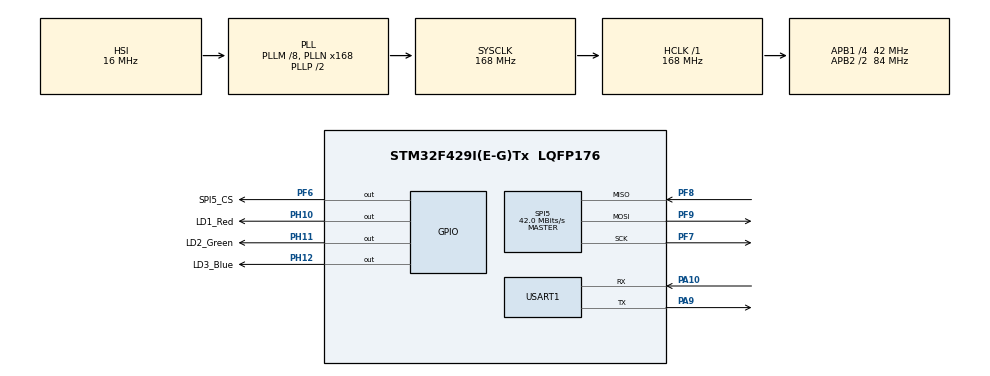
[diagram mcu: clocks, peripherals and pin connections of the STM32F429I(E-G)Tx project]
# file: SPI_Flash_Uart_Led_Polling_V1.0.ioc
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FATFS._MAX_SS=4096
Mcu.Family=STM32F4
Mcu.Name=STM32F429I(E-G)Tx
Mcu.Package=LQFP176
NVIC.PriorityGroup=NVIC_PRIORITYGROUP_4
PA10.Mode=Asynchronous
PA10.Signal=USART1_RX
PA13.Mode=Serial_Wire
PA13.Signal=SYS_JTMS-SWDIO
PA14.Mode=Serial_Wire
PA14.Signal=SYS_JTCK-SWCLK
PA9.Mode=Asynchronous
PA9.Signal=USART1_TX
PF6.GPIO_Label=SPI5_CS
PF6.PinState=GPIO_PIN_SET
PF6.Signal=GPIO_Output
PF7.Mode=Full_Duplex_Master
PF7.Signal=SPI5_SCK
PF8.Mode=Full_Duplex_Master
PF8.Signal=SPI5_MISO
PF9.Mode=Full_Duplex_Master
PF9.Signal=SPI5_MOSI
PH0/OSC_IN.Mode=HSE-External-Oscillator
PH0/OSC_IN.Signal=RCC_OSC_IN
PH1/OSC_OUT.Mode=HSE-External-Oscillator
PH1/OSC_OUT.Signal=RCC_OSC_OUT
PH10.GPIO_Label=LD1_Red
PH10.PinState=GPIO_PIN_SET
PH10.Signal=GPIO_Output
PH11.GPIO_Label=LD2_Green
PH11.PinState=GPIO_PIN_SET
PH11.Signal=GPIO_Output
PH12.GPIO_Label=LD3_Blue
PH12.PinState=GPIO_PIN_SET
PH12.Signal=GPIO_Output
ProjectManager.HeapSize=0x200
ProjectManager.StackSize=0x400
ProjectManager.TargetToolchain=STM32CubeIDE
RCC.48MHZClocksFreq_Value=84000000
RCC.AHBFreq_Value=168000000
RCC.APB1CLKDivider=RCC_HCLK_DIV4
RCC.APB1Freq_Value=42000000
RCC.APB1TimFreq_Value=84000000
RCC.APB2CLKDivider=RCC_HCLK_DIV2
RCC.APB2Freq_Value=84000000
RCC.APB2TimFreq_Value=168000000
RCC.CortexFreq_Value=168000000
RCC.HCLKFreq_Value=168000000
RCC.HSE_VALUE=25000000
RCC.HSI_VALUE=16000000
RCC.LSE_VALUE=32768
RCC.PLLM=8
RCC.PLLN=168
RCC.SYSCLKFreq_VALUE=168000000
RCC.SYSCLKSource=RCC_SYSCLKSOURCE_PLLCLK
RCC.VCOOutputFreq_Value=336000000
SPI5.CalculateBaudRate=42.0 MBits/s
SPI5.Direction=SPI_DIRECTION_2LINES
SPI5.Mode=SPI_MODE_MASTER
SPI5.VirtualType=VM_MASTER
USART1.VirtualMode=VM_ASYNC
VP_FATFS_VS_Generic.Mode=User_defined
board=custom

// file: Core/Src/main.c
/* USER CODE BEGIN Header */
/**
  ******************************************************************************
  * @file           : main.c
  * @brief          : Main program body
  ******************************************************************************
  * @attention
  *
  * Copyright (c) 2022 STMicroelectronics.
  * All rights reserved.
  *
  * This software is licensed under terms that can be found in the LICENSE file
  * in the root directory of this software component.
  * If no LICENSE file comes with this software, it is provided AS-IS.
  *
  ******************************************************************************
  */
/* USER CODE END Header */
#include "main.h"
#include "fatfs.h"

/* USER CODE BEGIN Includes */
#include "file_handling.h"
#include "stdio.h"
/* USER CODE END Includes */

SPI_HandleTypeDef hspi5;

UART_HandleTypeDef huart1;

void SystemClock_Config(void);
static void MX_GPIO_Init(void);
static void MX_SPI5_Init(void);
static void MX_USART1_UART_Init(void);

/* USER CODE BEGIN 0 */
FRESULT fres;
FATFS fs;
FIL   fp;
DIR   dp;

int _write(int file, char *ptr, int len)
{
	HAL_UART_Transmit(&huart1, (uint8_t *)ptr, len, 100);
	return len;
}
/* USER CODE END 0 */

int main(void)
{

  /* MCU Configuration--------------------------------------------------------*/

  /* Reset of all peripherals, Initializes the Flash interface and the Systick. */
  HAL_Init();

  /* Configure the system clock */
  SystemClock_Config();

  /* Initialize all configured peripherals */
  MX_GPIO_Init();
  MX_SPI5_Init();
  MX_USART1_UART_Init();
  MX_FATFS_Init();
  /* USER CODE BEGIN 2 */

  HAL_Delay(2000);

  fres = f_mount(&fs, "0:", 1);
  if (fres == FR_OK)
  {
	  printf("mount w25qxxx flash passed...\r\n");

	  //fres = f_opendir(&dp, "0:/dataInfo");

	  fres = f_open(&fp, "0:/dataInfo/info.txt", FA_OPEN_ALWAYS|FA_WRITE);
	  if (fres == FR_OK)
	  {
		  printf("open file ok...\r\n");
		  static uint8_t buff[] = "1234567890\r\nabcdefghijklmnopqrstuvwxyz\r\n!@#$%^&*()...";
		  UINT bw[1];
		  fres = f_write(&fp, buff, sizeof(buff), bw);
		  if (fres == FR_OK)
		  {
			  printf("write file passed...\r\n");

			  fres = f_close(&fp);
			  if (fres == FR_OK)
				  printf("close file passed...\r\n");
			  else
				  printf("close file failed...\r\n");

//			  f_closedir(&dp);
		  }
		  else
			  printf("write file failed...\r\n");
	  }
	  else
		  printf("open file failed...\r\n");

	  DWORD free_byte[1], total_byte[1];
	  fres = ff_getCapacity("0:", free_byte, total_byte);
	  if (fres == FR_OK)
	  {
		  printf("##################################\r\n");
		  printf(" total capacity : %ld KiByte\r\n", total_byte[0]);
		  printf(" free  capacity : %ld KiByte\r\n",  free_byte[0]);
		  printf("##################################\r\n");

		  TCHAR path[50] = "0:";
		  fres = ff_scanDisk(path);
		  if (fres == FR_OK)
			  printf("scan flash disk end...\r\n");

	  }

	  fres = f_open(&fp, "0:/dataInfo/info.txt", FA_OPEN_ALWAYS|FA_READ|FA_WRITE);
	  fres = f_lseek(&fp, 0);
	  uint8_t buffer[200];
	  UINT bw[1];
	  fres = f_read(&fp, buffer, f_size(&fp), bw);
	  fres = f_close(&fp);

	  fres = f_mount(NULL, "0:", 1);
	  if (fres == FR_OK)
	  {
		  printf("unmount passed...\r\n");
	  }
	  else {
		printf("unmount failed...\r\n");
	}
  }
  else
	  printf("mount w25qxxx flash failed...\r\n");

  /* USER CODE END 2 */

  /* Infinite loop */
  /* USER CODE BEGIN WHILE */
  while (1)
  {
	  HAL_GPIO_TogglePin(LD3_Blue_GPIO_Port, LD3_Blue_Pin);
	  HAL_Delay(500);
    /* USER CODE END WHILE */

  }
}

void SystemClock_Config(void)
{
  RCC_OscInitTypeDef RCC_OscInitStruct = {0};
  RCC_ClkInitTypeDef RCC_ClkInitStruct = {0};

  /** Configure the main internal regulator output voltage
  */
  __HAL_RCC_PWR_CLK_ENABLE();
  __HAL_PWR_VOLTAGESCALING_CONFIG(PWR_REGULATOR_VOLTAGE_SCALE1);
  /** Initializes the RCC Oscillators according to the specified parameters
  * in the RCC_OscInitTypeDef structure.
  */
  RCC_OscInitStruct.OscillatorType = RCC_OSCILLATORTYPE_HSI;
  RCC_OscInitStruct.HSIState = RCC_HSI_ON;
  RCC_OscInitStruct.HSICalibrationValue = RCC_HSICALIBRATION_DEFAULT;
  RCC_OscInitStruct.PLL.PLLState = RCC_PLL_ON;
  RCC_OscInitStruct.PLL.PLLSource = RCC_PLLSOURCE_HSI;
  RCC_OscInitStruct.PLL.PLLM = 8;
  RCC_OscInitStruct.PLL.PLLN = 168;
  RCC_OscInitStruct.PLL.PLLP = RCC_PLLP_DIV2;
  RCC_OscInitStruct.PLL.PLLQ = 4;
  if (HAL_RCC_OscConfig(&RCC_OscInitStruct) != HAL_OK)
  {
    Error_Handler();
  }
  /** Initializes the CPU, AHB and APB buses clocks
  */
  RCC_ClkInitStruct.ClockType = RCC_CLOCKTYPE_HCLK|RCC_CLOCKTYPE_SYSCLK
                              |RCC_CLOCKTYPE_PCLK1|RCC_CLOCKTYPE_PCLK2;
  RCC_ClkInitStruct.SYSCLKSource = RCC_SYSCLKSOURCE_PLLCLK;
  RCC_ClkInitStruct.AHBCLKDivider = RCC_SYSCLK_DIV1;
  RCC_ClkInitStruct.APB1CLKDivider = RCC_HCLK_DIV4;
  RCC_ClkInitStruct.APB2CLKDivider = RCC_HCLK_DIV2;

  if (HAL_RCC_ClockConfig(&RCC_ClkInitStruct, FLASH_LATENCY_5) != HAL_OK)
  {
    Error_Handler();
  }
}

static void MX_SPI5_Init(void)
{

  /* SPI5 parameter configuration*/
  hspi5.Instance = SPI5;
  hspi5.Init.Mode = SPI_MODE_MASTER;
  hspi5.Init.Direction = SPI_DIRECTION_2LINES;
  hspi5.Init.DataSize = SPI_DATASIZE_8BIT;
  hspi5.Init.CLKPolarity = SPI_POLARITY_LOW;
  hspi5.Init.CLKPhase = SPI_PHASE_1EDGE;
  hspi5.Init.NSS = SPI_NSS_SOFT;
  hspi5.Init.BaudRatePrescaler = SPI_BAUDRATEPRESCALER_2;
  hspi5.Init.FirstBit = SPI_FIRSTBIT_MSB;
  hspi5.Init.TIMode = SPI_TIMODE_DISABLE;
  hspi5.Init.CRCCalculation = SPI_CRCCALCULATION_DISABLE;
  hspi5.Init.CRCPolynomial = 10;
  if (HAL_SPI_Init(&hspi5) != HAL_OK)
  {
    Error_Handler();
  }

}

static void MX_USART1_UART_Init(void)
{

  huart1.Instance = USART1;
  huart1.Init.BaudRate = 115200;
  huart1.Init.WordLength = UART_WORDLENGTH_8B;
  huart1.Init.StopBits = UART_STOPBITS_1;
  huart1.Init.Parity = UART_PARITY_NONE;
  huart1.Init.Mode = UART_MODE_TX_RX;
  huart1.Init.HwFlowCtl = UART_HWCONTROL_NONE;
  huart1.Init.OverSampling = UART_OVERSAMPLING_16;
  if (HAL_UART_Init(&huart1) != HAL_OK)
  {
    Error_Handler();
  }

}

static void MX_GPIO_Init(void)
{
  GPIO_InitTypeDef GPIO_InitStruct = {0};

  /* GPIO Ports Clock Enable */
  __HAL_RCC_GPIOF_CLK_ENABLE();
  __HAL_RCC_GPIOH_CLK_ENABLE();
  __HAL_RCC_GPIOA_CLK_ENABLE();

  /*Configure GPIO pin Output Level */
  HAL_GPIO_WritePin(SPI5_CS_GPIO_Port, SPI5_CS_Pin, GPIO_PIN_SET);

  /*Configure GPIO pin Output Level */
  HAL_GPIO_WritePin(GPIOH, LD1_Red_Pin|LD2_Green_Pin|LD3_Blue_Pin, GPIO_PIN_SET);

  /*Configure GPIO pin : SPI5_CS_Pin */
  GPIO_InitStruct.Pin = SPI5_CS_Pin;
  GPIO_InitStruct.Mode = GPIO_MODE_OUTPUT_PP;
  GPIO_InitStruct.Pull = GPIO_NOPULL;
  GPIO_InitStruct.Speed = GPIO_SPEED_FREQ_LOW;
  HAL_GPIO_Init(SPI5_CS_GPIO_Port, &GPIO_InitStruct);

  /*Configure GPIO pins : LD1_Red_Pin LD2_Green_Pin LD3_Blue_Pin */
  GPIO_InitStruct.Pin = LD1_Red_Pin|LD2_Green_Pin|LD3_Blue_Pin;
  GPIO_InitStruct.Mode = GPIO_MODE_OUTPUT_PP;
  GPIO_InitStruct.Pull = GPIO_NOPULL;
  GPIO_InitStruct.Speed = GPIO_SPEED_FREQ_LOW;
  HAL_GPIO_Init(GPIOH, &GPIO_InitStruct);

}

void Error_Handler(void)
{
  __disable_irq();
  while (1)
  {
  }
}
